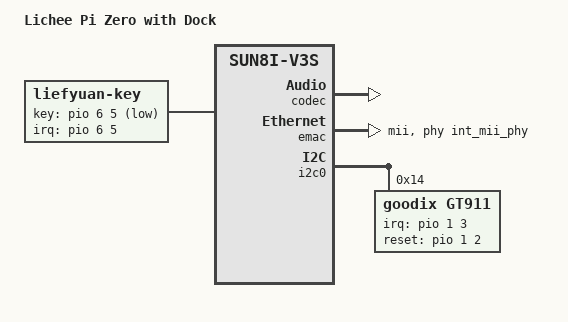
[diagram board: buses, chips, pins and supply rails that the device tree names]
/*
 * Copyright (C) 2016 Icenowy Zheng <icenowy@aosc.xyz>
 *
 * This file is dual-licensed: you can use it either under the terms
 * of the GPL or the X11 license, at your option. Note that this dual
 * licensing only applies to this file, and not this project as a
 * whole.
 *
 *  a) This file is free software; you can redistribute it and/or
 *     modify it under the terms of the GNU General Public License as
 *     published by the Free Software Foundation; either version 2 of the
 *     License, or (at your option) any later version.
 *
 *     This file is distributed in the hope that it will be useful,
 *     but WITHOUT ANY WARRANTY; without even the implied warranty of
 *     MERCHANTABILITY or FITNESS FOR A PARTICULAR PURPOSE.  See the
 *     GNU General Public License for more details.
 *
 * Or, alternatively,
 *
 *  b) Permission is hereby granted, free of charge, to any person
 *     obtaining a copy of this software and associated documentation
 *     files (the "Software"), to deal in the Software without
 *     restriction, including without limitation the rights to use,
 *     copy, modify, merge, publish, distribute, sublicense, and/or
 *     sell copies of the Software, and to permit persons to whom the
 *     Software is furnished to do so, subject to the following
 *     conditions:
 *
 *     The above copyright notice and this permission notice shall be
 *     included in all copies or substantial portions of the Software.
 *
 *     THE SOFTWARE IS PROVIDED "AS IS", WITHOUT WARRANTY OF ANY KIND,
 *     EXPRESS OR IMPLIED, INCLUDING BUT NOT LIMITED TO THE WARRANTIES
 *     OF MERCHANTABILITY, FITNESS FOR A PARTICULAR PURPOSE AND
 *     NONINFRINGEMENT. IN NO EVENT SHALL THE AUTHORS OR COPYRIGHT
 *     HOLDERS BE LIABLE FOR ANY CLAIM, DAMAGES OR OTHER LIABILITY,
 *     WHETHER IN AN ACTION OF CONTRACT, TORT OR OTHERWISE, ARISING
 *     FROM, OUT OF OR IN CONNECTION WITH THE SOFTWARE OR THE USE OR
 *     OTHER DEALINGS IN THE SOFTWARE.
 */

#include "sun8i-v3s-licheepi-zero.dts"

#include <dt-bindings/input/input.h>

/ {
	model = "Lichee Pi Zero with Dock";
	compatible = "licheepi,licheepi-zero-dock", "licheepi,licheepi-zero",
		     "allwinner,sun8i-v3s";

	aliases {
		ethernet0 = &emac;
	};

	leds {
		/* The LEDs use PG0~2 pins, which conflict with MMC1 */
		status = "okay";
	};

	key{
                compatible = "liefyuan-key";
                #address-cells = <1>;
                #size-cells = <0>;

		pinctrl-names = "default";
                pinctrl-0 = <&key_pins>; // 表示使用pinctrl_key这个节点的pin信息 
                /*autorepeat; *//* 按下按键自动重复*/

		/*linux,code = <KEY_BACK>; */// 这个表示的是按键值
		key-gpio= <&pio 6 5 GPIO_ACTIVE_LOW>; /* PG5 */
		interrupt-parent = <&pio>; // 父中断控制器
		interrupts = <6 5 IRQ_TYPE_EDGE_BOTH>; // PG5   中断源 上升沿和下降沿
		status = "okay";
        };


	dht11{
	     	pinctrl-1 =<&dht11_pin>;/*dht11的pin管脚属性来自dtsi文件*/
     	    compatible = "dht-11";
	     	pinctrl-names = "default";
     	    status = "okay";
     	    dht11_pin@1{
         		/*配置dht11所属管脚的io口*/
         		gpios = <&pio 6 4 GPIO_ACTIVE_HIGH>;/*管脚是接在PG4上面*/
         		label = "dht_11";
         		linux,default-trigger = "heartbeat";
         		linux,default-trigger-delay-ms = <0>;
     	    };
 	};
};

&codec {
	allwinner,audio-routing =
		"Headphone", "HP",
		"Headphone", "HPCOM",
		"MIC1", "Mic",
		"Mic",  "HBIAS";
	status = "okay";
};

&emac {
	phy-handle = <&int_mii_phy>;
	phy-mode = "mii";
	allwinner,leds-active-low;
	status = "okay";
};
/*
&mmc1 {
	broken-cd;
	bus-width = <4>;
	vmmc-supply = <&reg_vcc3v3>;
	status = "okay";
};
*/
/*
&lradc {
	vref-supply = <&reg_vcc3v0>;
	status = "okay";

	button-200 {
		label = "Volume Up";
		linux,code = <KEY_VOLUMEUP>;
		channel = <0>;
		voltage = <200000>;
	};

	button-400 {
		label = "Volume Down";
		linux,code = <KEY_VOLUMEDOWN>;
		channel = <0>;
		voltage = <400000>;
	};

	button-600 {
		label = "Select";
		linux,code = <KEY_SELECT>;
		channel = <0>;
		voltage = <600000>;
	};

	button-800 {
		label = "Start";
		linux,code = <KEY_OK>;
		channel = <0>;
		voltage = <800000>;
	};
};
*/
&i2c0 {
	status = "okay";
	gt911: touchscreen@14 {
        	compatible = "goodix,gt911";
        	reg = <0x14>;
        	interrupt-parent = <&pio>;
        	interrupts = <1 3 IRQ_TYPE_EDGE_FALLING>; /* (PB3) */
        	pinctrl-names = "default";
        	irq-gpios = <&pio 1 3 GPIO_ACTIVE_HIGH>; /* (PB3) */
        	reset-gpios = <&pio 1 2 GPIO_ACTIVE_HIGH>; /* RST (PB2) */
        	/* touchscreen-swapped-x-y */
	};

	/*ssd1306: ssd1306@3c {
		compatible = "oled12864,ssd1306";
		reg = <0x3c>;
	};*/
};
